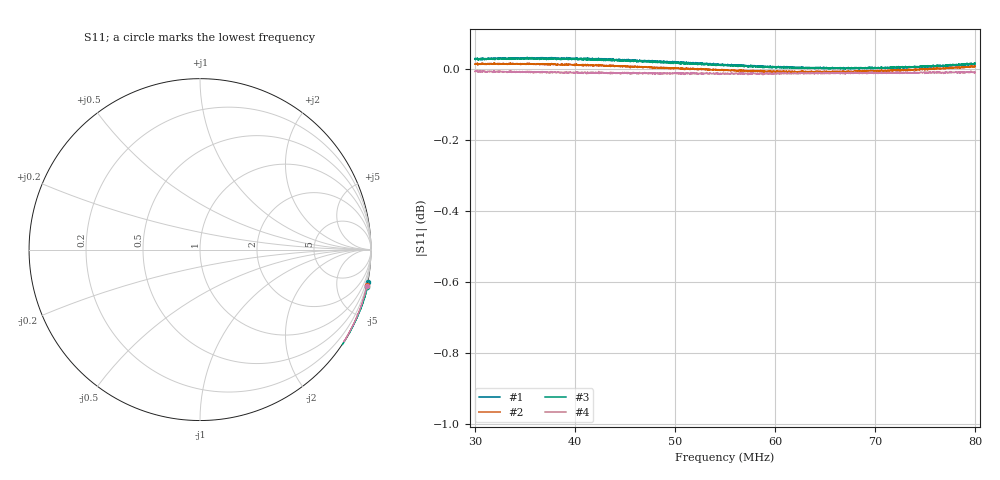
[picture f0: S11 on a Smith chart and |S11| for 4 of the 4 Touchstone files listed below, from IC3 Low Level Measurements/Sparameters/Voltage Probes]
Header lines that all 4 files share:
#  HZ  S  DB  R  50.00
! Rohde & Schwarz Vector Network Analyzer
! Rohde-Schwarz,ZNB8-4Port,1311601044102961,2.82
! freq[Hz]  db:S11  ang:S11
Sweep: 30 MHz to 80 MHz
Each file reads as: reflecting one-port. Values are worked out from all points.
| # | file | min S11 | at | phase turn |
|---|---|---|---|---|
| 1 | S11Probe1.s1p | 0.0 dB | 67.03 MHz | -18 deg |
| 2 | S11Probe2.s1p | 0.0 dB | 66.53 MHz | -20 deg |
| 3 | S11Probe3.s1p | 0.0 dB | 67.03 MHz | -21 deg |
| 4 | S11Probe4.s1p | 0.0 dB | 58.8 MHz | -20 deg |
